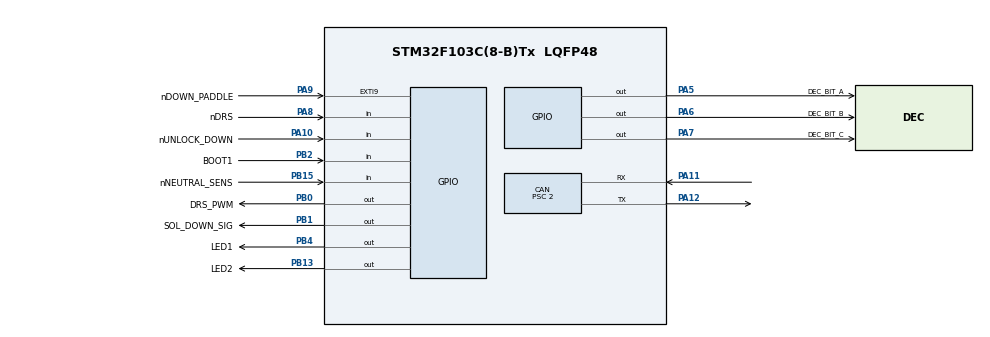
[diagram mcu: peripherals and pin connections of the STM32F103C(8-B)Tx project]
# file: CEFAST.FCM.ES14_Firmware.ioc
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CAN.BS1=CAN_BS1_6TQ
CAN.CalculateBaudRate=500000
CAN.CalculateTimeBit=2000
CAN.CalculateTimeQuantum=250.0
CAN.Prescaler=2
Mcu.Family=STM32F1
Mcu.Name=STM32F103C(8-B)Tx
Mcu.Package=LQFP48
NVIC.PriorityGroup=NVIC_PRIORITYGROUP_4
NVIC.USB_LP_CAN1_RX0_IRQn=true\:0\:0\:false\:false\:true\:true\:true\:true
PA10.GPIO_Label=nUNLOCK_DOWN
PA10.Signal=GPIO_Input
PA11.Mode=CAN_Activate
PA11.Signal=CAN_RX
PA12.Mode=CAN_Activate
PA12.Signal=CAN_TX
PA13.GPIO_Label=SWDIO
PA13.Mode=Serial_Wire
PA13.Signal=SYS_JTMS-SWDIO
PA14.GPIO_Label=SWCLK
PA14.Mode=Serial_Wire
PA14.Signal=SYS_JTCK-SWCLK
PA5.GPIO_Label=DEC_BIT_A
PA5.PinState=GPIO_PIN_RESET
PA5.Signal=GPIO_Output
PA6.GPIO_Label=DEC_BIT_B
PA6.PinState=GPIO_PIN_SET
PA6.Signal=GPIO_Output
PA7.GPIO_Label=DEC_BIT_C
PA7.Signal=GPIO_Output
PA8.GPIO_Label=nDRS
PA8.Signal=GPIO_Input
PA9.GPIO_Label=nDOWN_PADDLE
PA9.Signal=GPXTI9
PB0.GPIO_Label=DRS_PWM
PB0.Signal=GPIO_Output
PB1.GPIO_Label=SOL_DOWN_SIG
PB1.Signal=GPIO_Output
PB13.GPIO_Label=LED2
PB13.Signal=GPIO_Output
PB15.GPIO_Label=nNEUTRAL_SENS
PB15.Signal=GPIO_Input
PB2.GPIO_Label=BOOT1
PB2.Signal=GPIO_Input
PB4.GPIO_Label=LED1
PB4.Signal=GPIO_Output
PD0-OSC_IN.GPIO_Label=RCC_IN
PD0-OSC_IN.Mode=HSE-External-Oscillator
PD0-OSC_IN.Signal=RCC_OSC_IN
PD1-OSC_OUT.GPIO_Label=RCC_OUT
PD1-OSC_OUT.Mode=HSE-External-Oscillator
PD1-OSC_OUT.Signal=RCC_OSC_OUT
ProjectManager.HeapSize=0x200
ProjectManager.StackSize=0x400
ProjectManager.TargetToolchain=STM32CubeIDE
RCC.APB1Freq_Value=8000000
RCC.APB2Freq_Value=8000000
RCC.PLLSourceVirtual=RCC_PLLSOURCE_HSE
RCC.SYSCLKSource=RCC_SYSCLKSOURCE_HSE
RCC.USBFreq_Value=16000000
TIM3.Prescaler=8000-1
VP_TIM3_VS_ClockSourceINT.Mode=Internal
board=custom

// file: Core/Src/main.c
/* USER CODE BEGIN Header */
/**
  ******************************************************************************
  * @file           : main.c
  * @brief          : Main program body
  ******************************************************************************
  * @attention
  *
  * Copyright (c) 2023 STMicroelectronics.
  * All rights reserved.
  *
  * This software is licensed under terms that can be found in the LICENSE file
  * in the root directory of this software component.
  * If no LICENSE file comes with this software, it is provided AS-IS.
  *
  ******************************************************************************
  */

/**
 * @file main.c CEFAST.FCM.ES14_Firmware
 * Augusto Soares (augusto.oliveira.soares123@gmail.com)
 * @brief
 * @version 0.2
 * @date 23-09-2023
 *
 * @copyright Copyright (c) 2023
 *
 */

/* USER CODE END Header */
#include "main.h"
#include "can.h"
#include "tim.h"
#include "gpio.h"

/* USER CODE BEGIN PV */
uint16_t time_down = 200;
/* USER CODE END PV */

void SystemClock_Config(void);

/* USER CODE BEGIN 0 */

void Downshift(){

	if (HAL_GPIO_ReadPin(nDOWN_PADDLE_GPIO_Port, nDOWN_PADDLE_Pin)== 0){

		HAL_Delay(10);

		if (HAL_GPIO_ReadPin(nDOWN_PADDLE_GPIO_Port, nDOWN_PADDLE_Pin)== 0){
			HAL_GPIO_WritePin(SOL_DOWN_SIG_GPIO_Port, SOL_DOWN_SIG_Pin, 1);
			HAL_GPIO_WritePin(LED2_GPIO_Port, LED2_Pin, 0);
			HAL_Delay(time_down);
		}

	}else {
		HAL_GPIO_WritePin(SOL_DOWN_SIG_GPIO_Port, SOL_DOWN_SIG_Pin, 0);
		HAL_GPIO_WritePin(LED2_GPIO_Port, LED2_Pin, 1);
	}

}

void Display7s(GEAR_E gear) {

	if (gear == GEAR_NEUTRAL) {

		HAL_GPIO_WritePin(DEC_BIT_A_GPIO_Port, DEC_BIT_A_Pin, 0);
		HAL_GPIO_WritePin(DEC_BIT_B_GPIO_Port, DEC_BIT_B_Pin, 0);
		HAL_GPIO_WritePin(DEC_BIT_C_GPIO_Port, DEC_BIT_C_Pin, 0);

	} else if (gear == GEAR_FIRST) {

		HAL_GPIO_WritePin(DEC_BIT_A_GPIO_Port, DEC_BIT_A_Pin, 1);
		HAL_GPIO_WritePin(DEC_BIT_B_GPIO_Port, DEC_BIT_B_Pin, 0);
		HAL_GPIO_WritePin(DEC_BIT_C_GPIO_Port, DEC_BIT_C_Pin, 0);

	} else if (gear == GEAR_SECOND) {

		HAL_GPIO_WritePin(DEC_BIT_A_GPIO_Port, DEC_BIT_A_Pin, 0);
		HAL_GPIO_WritePin(DEC_BIT_B_GPIO_Port, DEC_BIT_B_Pin, 1);
		HAL_GPIO_WritePin(DEC_BIT_C_GPIO_Port, DEC_BIT_C_Pin, 0);

	} else if (gear == GEAR_THIRD) {

		HAL_GPIO_WritePin(DEC_BIT_A_GPIO_Port, DEC_BIT_A_Pin, 1);
		HAL_GPIO_WritePin(DEC_BIT_B_GPIO_Port, DEC_BIT_B_Pin, 1);
		HAL_GPIO_WritePin(DEC_BIT_C_GPIO_Port, DEC_BIT_C_Pin, 0);

	} else if (gear == GEAR_FOURTH) {

		HAL_GPIO_WritePin(DEC_BIT_A_GPIO_Port, DEC_BIT_A_Pin, 0);
		HAL_GPIO_WritePin(DEC_BIT_B_GPIO_Port, DEC_BIT_B_Pin, 0);
		HAL_GPIO_WritePin(DEC_BIT_C_GPIO_Port, DEC_BIT_C_Pin, 1);

	} else if (gear == GEAR_FIFTH) {

		HAL_GPIO_WritePin(DEC_BIT_A_GPIO_Port, DEC_BIT_A_Pin, 1);
		HAL_GPIO_WritePin(DEC_BIT_B_GPIO_Port, DEC_BIT_B_Pin, 0);
		HAL_GPIO_WritePin(DEC_BIT_C_GPIO_Port, DEC_BIT_C_Pin, 1);

	} else if (gear == GEAR_SIXTH) {

		HAL_GPIO_WritePin(DEC_BIT_A_GPIO_Port, DEC_BIT_A_Pin, 0);
		HAL_GPIO_WritePin(DEC_BIT_B_GPIO_Port, DEC_BIT_B_Pin, 1);
		HAL_GPIO_WritePin(DEC_BIT_C_GPIO_Port, DEC_BIT_C_Pin, 1);

	}

}

/* USER CODE END 0 */

int main(void)
{
  /* USER CODE BEGIN 1 */
	GEAR_E currentGear = 6;
  /* USER CODE END 1 */

  /* MCU Configuration--------------------------------------------------------*/

  /* Reset of all peripherals, Initializes the Flash interface and the Systick. */
  HAL_Init();

  /* Configure the system clock */
  SystemClock_Config();

  /* Initialize all configured peripherals */
  MX_GPIO_Init();
  MX_CAN_Init();
  MX_TIM3_Init();
  /* USER CODE BEGIN 2 */

  //HAL_CAN_Start(&hcan);
  //HAL_CAN_ActivateNotification(&hcan, CAN_IT_RX_FIFO0_MSG_PENDING);
  //HAL_TIM_Base_Start_IT(&htim3);

  /* USER CODE END 2 */

  /* Infinite loop */
  /* USER CODE BEGIN WHILE */
  while (1)
  {
	  Downshift();
	  HAL_GPIO_WritePin(DEC_BIT_A_GPIO_Port, DEC_BIT_A_Pin, 0);
	  HAL_GPIO_WritePin(DEC_BIT_B_GPIO_Port, DEC_BIT_B_Pin, 0);
	  HAL_GPIO_WritePin(DEC_BIT_C_GPIO_Port, DEC_BIT_C_Pin, 0);

    /* USER CODE END WHILE */

  }
}

void SystemClock_Config(void)
{
  RCC_OscInitTypeDef RCC_OscInitStruct = {0};
  RCC_ClkInitTypeDef RCC_ClkInitStruct = {0};

  /** Initializes the RCC Oscillators according to the specified parameters
  * in the RCC_OscInitTypeDef structure.
  */
  RCC_OscInitStruct.OscillatorType = RCC_OSCILLATORTYPE_HSE;
  RCC_OscInitStruct.HSEState = RCC_HSE_ON;
  RCC_OscInitStruct.PLL.PLLState = RCC_PLL_NONE;
  if (HAL_RCC_OscConfig(&RCC_OscInitStruct) != HAL_OK)
  {
    Error_Handler();
  }

  /** Initializes the CPU, AHB and APB buses clocks
  */
  RCC_ClkInitStruct.ClockType = RCC_CLOCKTYPE_HCLK|RCC_CLOCKTYPE_SYSCLK
                              |RCC_CLOCKTYPE_PCLK1|RCC_CLOCKTYPE_PCLK2;
  RCC_ClkInitStruct.SYSCLKSource = RCC_SYSCLKSOURCE_HSE;
  RCC_ClkInitStruct.AHBCLKDivider = RCC_SYSCLK_DIV1;
  RCC_ClkInitStruct.APB1CLKDivider = RCC_HCLK_DIV1;
  RCC_ClkInitStruct.APB2CLKDivider = RCC_HCLK_DIV1;

  if (HAL_RCC_ClockConfig(&RCC_ClkInitStruct, FLASH_LATENCY_0) != HAL_OK)
  {
    Error_Handler();
  }
}

void Error_Handler(void)
{
  __disable_irq();
  while (1)
  {
  }
}
